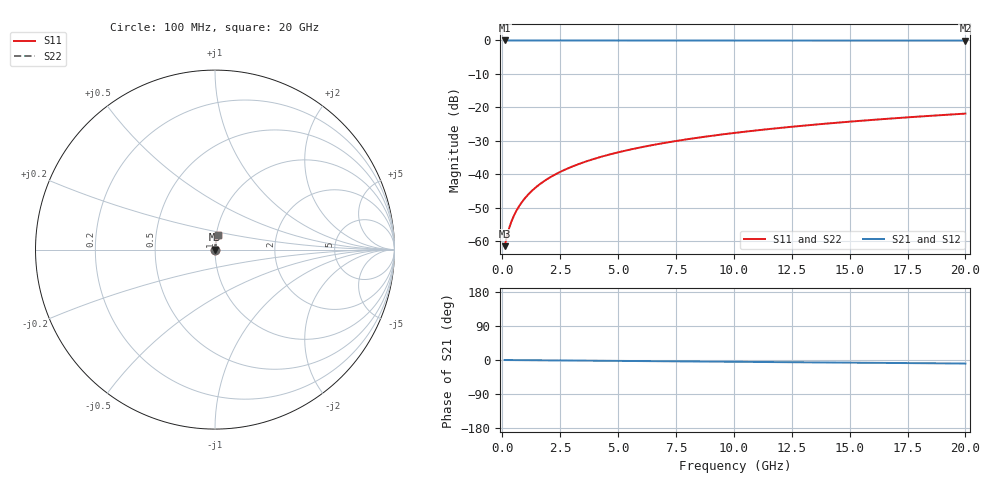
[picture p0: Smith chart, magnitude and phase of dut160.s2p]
! Touchstone file exported from HFSS 2026.1.0
!  File:  C:/ffzhzh/LocalFiles/Ansys_Project_Files/temp_train_BSMRDL_160_1782986786_45328.aedt
!  Generated:  06:07:40 PM Jul  2, 2026
!  Design:  BSMRDL
!  Project:  temp_train_BSMRDL_160_1782986786_45328
! Variables:
!  h_bsmrdl = 4.97um
!  h_ox = 20um
!  h_rdl = 5um
!  h_sub = 80um
!  h_tmrdl = 5um
!  h_tsv = 80um
!  h_via = 3um
!  l_bsmrdl = 124.12um
!  l_sub = 524.12um
!  l_tmrdl = 200um
!  m_sub = 200um
!  pitch = 32.14um
!  r_tsv = 6um
!  s_tmrdl = 10um
!  w_bsmrdl = 15.99um
!  w_sub = 500um
!  w_tmrdl = 12um
!  x_tsv_center1 = 206um
!  x_tsv_center2 = 346.11um
!  x_tsv_center3 = 558.11um
!  x_tsv_center4 = 698.22um
!  x_tsv_center5 = 910.22um
!  x_tsv_center6 = 1050.33um
# GHz S MA R 50.000000
! Terminal data exported
! Port[1] = BSM_RDL1_1_T1
! Port[2] = BSM_RDL1_1_T2
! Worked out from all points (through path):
!   200 points, 100 MHz to 20 GHz, reference 50 ohm
!   highest |S21| = -0.01 dB at 100 MHz (marker M1); lowest = -0.1 dB at 20 GHz (marker M2)
!   group delay of S21, straight-line fit = 1.29 ps
!   lowest |S11| = -61.5 dB at 100 MHz (marker M3), VSWR 1.00, Z = 50.1 + j0.0482 ohm
!   |S11| at or under -10 dB: start of sweep to end of sweep
!   |S22| runs from -61.5 to -21.9 dB; largest |S21 - S12| = 2.5e-15
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0.1  0.0008422 34.9  0.9993 -0.1  0.9993 -0.1  0.0008422 34.9
! Gamma 0 0 0 0
! Port Impedance 50 0 50 0
0.2  0.001191 52.5  0.9993 -0.1  0.9993 -0.1  0.001191 52.5
0.3  0.001585 61.3  0.9992 -0.1  0.9992 -0.1  0.001585 61.3
0.4  0.001989 66.5  0.9992 -0.2  0.9992 -0.2  0.001989 66.5
0.5  0.002397 70.0  0.9992 -0.2  0.9992 -0.2  0.002397 70.0
0.6  0.002808 72.5  0.9992 -0.3  0.9992 -0.3  0.002808 72.5
0.8  0.003639 76.0  0.9991 -0.4  0.9991 -0.4  0.003639 76.0
1.1  0.0049 78.9  0.9991 -0.5  0.9991 -0.5  0.0049 78.9
1.3  0.005747 80.2  0.9991 -0.6  0.9991 -0.6  0.005747 80.2
1.6  0.007021 81.4  0.999 -0.8  0.999 -0.8  0.007021 81.4
2.1  0.009146 82.5  0.9989 -1.0  0.9989 -1.0  0.009146 82.5
2.7  0.01169 83.2  0.9988 -1.3  0.9988 -1.3  0.01169 83.2
3.5  0.01505 83.4  0.9986 -1.7  0.9986 -1.7  0.01505 83.4
4.2  0.01796 83.5  0.9984 -2.0  0.9984 -2.0  0.01796 83.5
5  0.02126 83.3  0.9982 -2.4  0.9982 -2.4  0.02126 83.3
5.9  0.02494 83.1  0.9979 -2.8  0.9979 -2.8  0.02494 83.1
6.8  0.02858 82.9  0.9977 -3.2  0.9977 -3.2  0.02858 82.9
8.3  0.0346 82.5  0.9972 -3.9  0.9972 -3.9  0.0346 82.5
10.1  0.04178 81.9  0.9967 -4.7  0.9967 -4.7  0.04178 81.9
13.4  0.05483 80.8  0.9957 -6.3  0.9957 -6.3  0.05483 80.8
16.7  0.06777 79.5  0.9945 -7.8  0.9945 -7.8  0.06777 79.5
20  0.08061 78.2  0.9932 -9.3  0.9932 -9.3  0.08061 78.2
